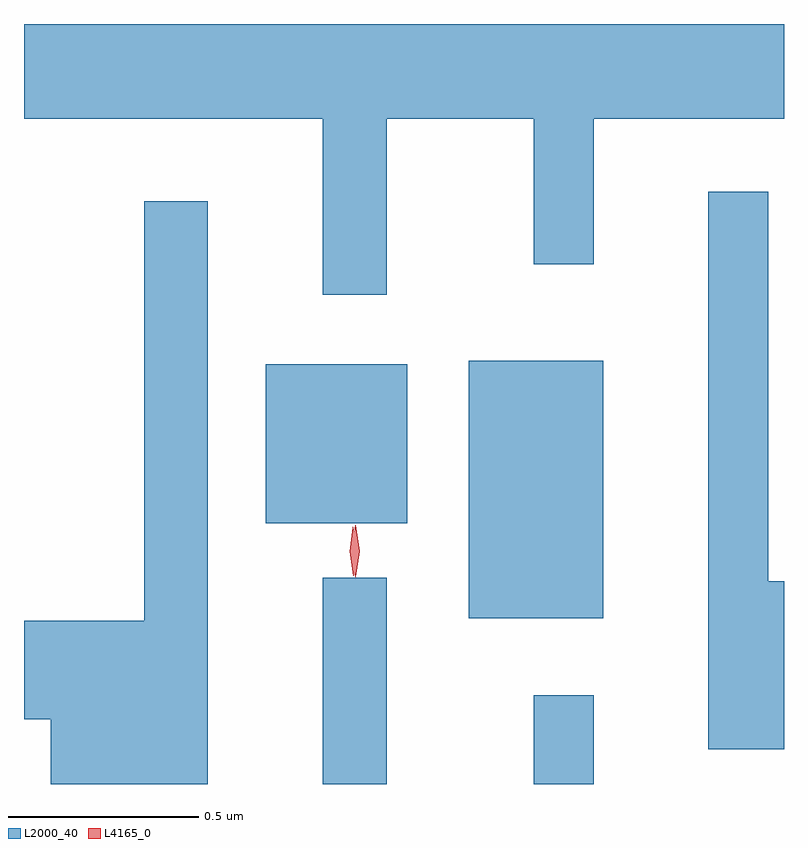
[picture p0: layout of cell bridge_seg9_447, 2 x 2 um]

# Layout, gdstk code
import gdstk
lib = gdstk.Library(unit=1e-6, precision=1e-09)
def R(c, l, rs):  # rectangles x0, y0, x1, y1
    for r in rs: c.add(gdstk.rectangle(r[:2], r[2:], *l))
def P(c, l, *ps):  # polygons
    for p in ps: c.add(gdstk.Polygon(p, *l))
L2000_40 = (2000, 40)
L4165_0 = (4165, 0)

bridge_seg9_447 = lib.new_cell('bridge_seg9_447')
R(bridge_seg9_447, L2000_40, [(426.541,2030.025,426.709,2030.568), (427.096,2030.025,427.254,2030.258), (426.926,2030.461,427.279,2031.139), (426.391,2030.711,426.764,2031.129)])
P(bridge_seg9_447, L2000_40, [(426.709,2031.776),(427.096,2031.776),(427.096,2031.393),(427.254,2031.393),(427.254,2031.776),(427.755,2031.776),(427.755,2032.025),(425.755,2032.025),(425.755,2031.776),(426.541,2031.776),(426.541,2031.313),(426.709,2031.313)],
  [(427.755,2030.559),(427.714,2030.559),(427.714,2031.583),(427.556,2031.583),(427.556,2030.116),(427.755,2030.116)],
  [(426.239,2031.558),(426.071,2031.558),(426.071,2030.454),(425.755,2030.454),(425.755,2030.196),(425.826,2030.196),(425.826,2030.025),(426.239,2030.025)])
P(bridge_seg9_447, L4165_0, [(426.622,2030.573),(426.612,2030.637),(426.62,2030.701),(426.62,2030.702),(426.621,2030.701),(426.631,2030.637),(426.623,2030.573),(426.623,2030.573)],
  [(426.628,2030.569),(426.627,2030.57),(426.618,2030.638),(426.627,2030.706),(426.628,2030.706),(426.628,2030.706),(426.638,2030.638),(426.628,2030.57)])

lib.write_gds('bridge_seg9_447.gds')
